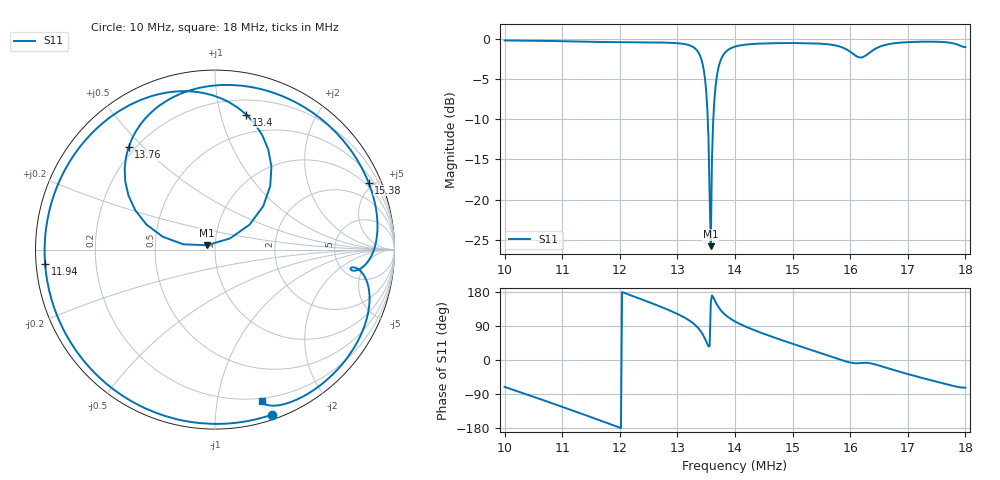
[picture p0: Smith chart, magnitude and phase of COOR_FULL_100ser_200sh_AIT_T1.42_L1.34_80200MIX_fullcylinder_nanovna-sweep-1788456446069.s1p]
! NanoVNA Web complex sweep
! Processing: original sample grid, no browser smoothing
# Hz S RI R 50
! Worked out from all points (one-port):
!   401 points, 10 MHz to 18 MHz, reference 50 ohm
!   lowest |S11| = -25.8 dB at 13.58 MHz (marker M1), VSWR 1.11, Z = 45.6 + j2.22 ohm
!   |S11| at or under -10 dB: 13.53 MHz to 13.62 MHz (97.03 kHz wide, 0.715 % of centre)
!   S11 on the Smith chart (normalised r, x): 10 MHz: 0.04, -1.40; 11.94 MHz: 0.03, -0.04; 13.4 MHz: 0.32, +1.21; 13.76 MHz: 0.18, +0.45; 15.38 MHz: 0.80, +4.66; 18 MHz: 0.17, -1.34
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1e7  0.3171 -0.9202
1.05e7  -0.1162 -0.9628
1.1e7  -0.5316 -0.8031
1.15e7  -0.8334 -0.4669
1.194e7  -0.9467 -0.0806
1.2e7  -0.9493 -0.025
1.252e7  -0.8351 0.4461
1.3e7  -0.4897 0.7979
1.326e7  -0.1325 0.8814
1.34e7  0.1746 0.7522
1.35e7  0.3077 0.3543
1.354e7  0.1929 0.1394
1.358e7  -0.0452 0.0243
1.36e7  -0.1761 0.0294
1.366e7  -0.4441 0.2189
1.376e7  -0.4812 0.5707
1.4e7  -0.1818 0.8723
1.442e7  0.2613 0.8929
1.5e7  0.6889 0.6364
1.538e7  0.8555 0.3736
1.572e7  0.9046 0.1006
1.6e7  0.8221 -0.0963
1.618e7  0.7552 -0.1063
1.636e7  0.8193 -0.1294
1.662e7  0.8586 -0.3173
1.7e7  0.7572 -0.574
1.76e7  0.4598 -0.8338
1.8e7  0.2601 -0.8458
